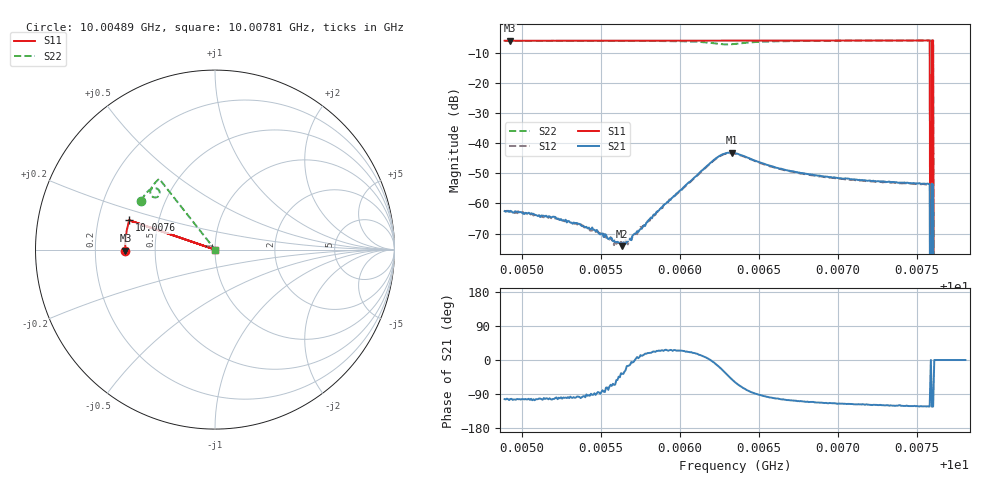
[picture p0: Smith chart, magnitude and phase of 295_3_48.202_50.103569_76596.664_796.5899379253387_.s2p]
#  HZ  S  RI  R  50.00
! Rohde & Schwarz Vector Network Analyzer
! Rohde-Schwarz,ZNB20-2Port,1311601062101988,3.16
! Created: UTC 3/20/2024, 11:49:15 AM
! freq[Hz]  re:S11  im:S11  re:S21  im:S21  re:S12  im:S12  re:S22  im:S22
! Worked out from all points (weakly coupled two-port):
!   401 points, 10.00489 GHz to 10.00781 GHz, reference 50 ohm
!   highest |S21| = -43.17 dB at 10.00633 GHz (marker M1); lowest = -74.2 dB at 10.00564 GHz (marker M2)
!   lowest |S11| = -6.0 dB at 10.00493 GHz (marker M3), VSWR 2.99, Z = 16.7 - j0.302 ohm
!   |S11| at or under -10 dB: 10.00758 GHz to 10.0076 GHz (14.27 kHz wide, 0.000143 % of centre); 10.0076 GHz to end of sweep
!   |S22| runs from - to -6.0 dB; largest |S21 - S12| = 0.0021
!   S11 on the Smith chart (normalised r, x): 10.00489 GHz: 0.33, -0.01; 10.0076 GHz: 0.34, +0.15; 10.00781 GHz: 1.00, +0.00
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1.0004892e10  -0.4994 -0.00911  -0.000172 -0.000726  -0.000119 -0.000729  -0.413 0.2715
1.0004928e10  -0.4992 -0.00679  -0.000168 -0.000734  -0.000128 -0.000716  -0.4115 0.2737
1.0005198e10  -0.4999 0.0107  -0.000133 -0.000588  -9.64e-05 -0.000576  -0.4016 0.2898
1.000538e10  -0.4999 0.0227  -6.19e-05 -0.000418  -4.79e-05 -0.000432  -0.3939 0.3007
1.0005636e10  -0.4994 0.0393  0.000158 -0.000115  0.000165 -0.000135  -0.3816 0.3163
1.0005679e10  -0.4992 0.0419  0.000246 -6.41e-05  0.000243 -1.93e-05  -0.3792 0.3191
1.0005869e10  -0.4984 0.0543  0.000695 0.000324  0.000666 0.000334  -0.3664 0.3312
1.0006219e10  -0.4957 0.0767  0.00529 -0.000659  0.00521 -0.000463  -0.3111 0.3285
1.0006277e10  -0.4951 0.0802  0.00577 -0.00321  0.00582 -0.00286  -0.3098 0.3061
1.0006328e10  -0.4947 0.0833  0.00444 -0.00534  0.00462 -0.00499  -0.325 0.2916
1.000635e10  -0.4946 0.0846  0.00356 -0.00582  0.00378 -0.00546  -0.3333 0.2902
1.000662e10  -0.4924 0.1019  -0.000783 -0.0038  -0.000631 -0.00374  -0.359 0.332
1.0006838e10  -0.4897 0.1158  -0.00107 -0.00279  -0.000928 -0.00277  -0.3492 0.3521
1.0007327e10  -0.4826 0.1464  -0.00117 -0.00198  -0.001 -0.00195  -0.3249 0.3811
1.0007567e10  -0.4783 0.1615  -0.00113 -0.0018  -0.00102 -0.00181  -0.3129 0.3929
1.0007575e10  -0.4782 0.1619  -0.00114 -0.00178  -0.000999 -0.00179  -0.3124 0.3932
1.0007589e10  0 0  0 0  -0.001 -0.00179  -0.3116 0.3938
1.0007597e10  -0.4777 0.1632  -0.00117 -0.00178  -0.00102 -0.00176  -0.3113 0.3941
1.0007604e10  -0.4777 0.1635  -0.00111 -0.00174  -0.00103 -0.00177  -0.311 0.3945
1.0007611e10  0 0  0 0  0 0  0 0
1.0007626e10  0 0  0 0  0 0  0 0
1.0007808e10  0 0  0 0  0 0  0 0
